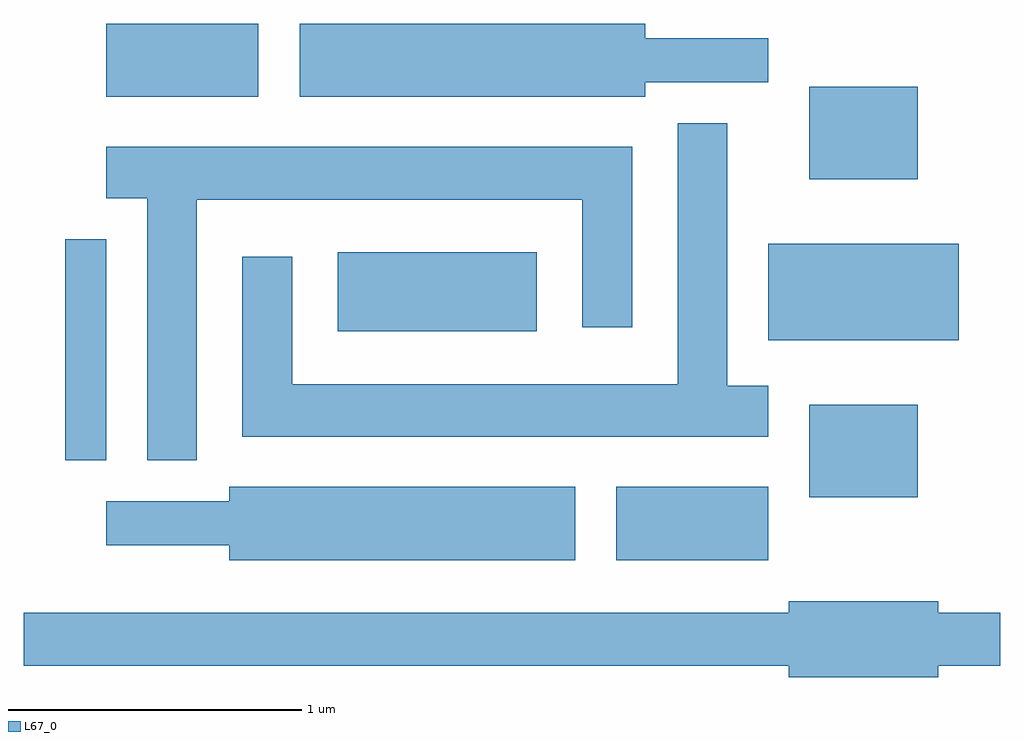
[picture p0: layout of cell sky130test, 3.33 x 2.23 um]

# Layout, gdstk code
import gdstk
lib = gdstk.Library(unit=1e-6, precision=1e-09)
def R(c, l, rs):  # rectangles x0, y0, x1, y1
    for r in rs: c.add(gdstk.rectangle(r[:2], r[2:], *l))
def P(c, l, *ps):  # polygons
    for p in ps: c.add(gdstk.Polygon(p, *l))
L67_0 = (67, 0)

sky130test = lib.new_cell('sky130test')
R(sky130test, L67_0, [(2.4,-0.13,2.91,0.13), (-0.21,-0.09,0,0.09), (0,-0.09,0.525,0.09), (0.525,-0.09,1.2,0.09), (1.2,-0.09,1.875,0.09), (1.875,-0.09,2.4,0.09), (2.91,-0.09,3.12,0.09), (1.2,0.27,1.67,0.395), (1.81,0.27,2.33,0.395), (1.2,0.395,1.67,0.52), (1.81,0.395,2.33,0.52), (2.47,0.485,2.84,0.8), (-0.07,0.61,0,1.365), (0,0.61,0.07,1.365), (2.33,1.02,2.4,1.35), (2.4,1.02,2.91,1.35), (2.91,1.02,2.98,1.35), (0.86,1.05,1.2,1.32), (1.2,1.05,1.54,1.32), (2.47,1.57,2.84,1.885), (0.07,1.85,0.59,1.975), (0.73,1.85,1.2,1.975), (0.07,1.975,0.59,2.1), (0.73,1.975,1.2,2.1)])
P(sky130test, L67_0, [(0.49,0.27),(0.49,0.32),(0.07,0.32),(0.07,0.395),(1.2,0.395),(1.2,0.27)],
  [(1.2,1.975),(1.2,2.1),(1.91,2.1),(1.91,2.05),(2.33,2.05),(2.33,1.975)],
  [(1.2,1.85),(1.2,1.975),(2.33,1.975),(2.33,1.9),(1.91,1.9),(1.91,1.85)],
  [(1.695,1.065),(1.695,1.5),(1.2,1.5),(1.2,1.68),(1.865,1.68),(1.865,1.065)],
  [(1.2,0.69),(1.2,0.87),(2.02,0.87),(2.02,1.76),(2.19,1.76),(2.19,0.865),(2.33,0.865),(2.33,0.69)],
  [(0.07,0.395),(0.07,0.47),(0.49,0.47),(0.49,0.52),(1.2,0.52),(1.2,0.395)],
  [(0.535,0.69),(0.535,1.305),(0.705,1.305),(0.705,0.87),(1.2,0.87),(1.2,0.69)],
  [(0.21,0.61),(0.21,1.505),(0.07,1.505),(0.07,1.68),(1.2,1.68),(1.2,1.5),(0.38,1.5),(0.38,0.61)])

lib.write_gds('sky130test.gds')
